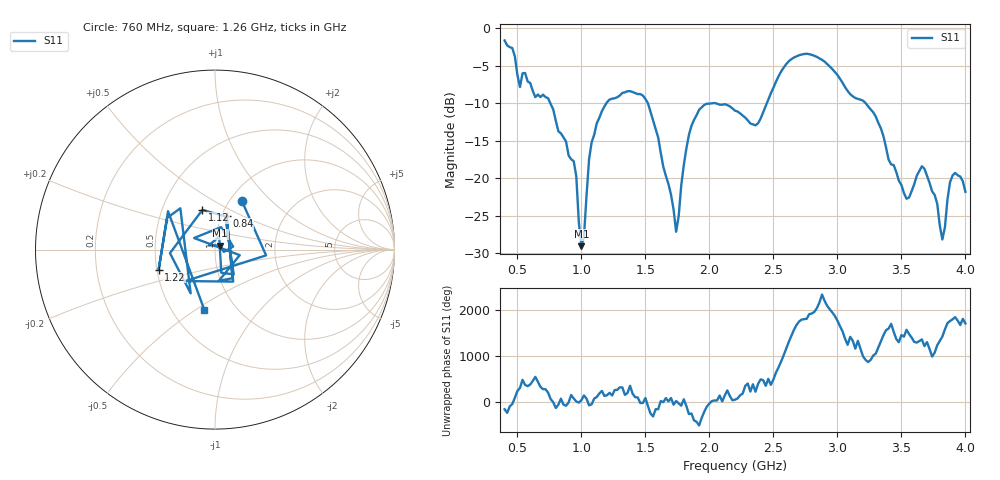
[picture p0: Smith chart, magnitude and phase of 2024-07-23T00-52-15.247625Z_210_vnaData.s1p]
!Created with skrf (http://scikit-rf.org).
# Hz S RI R 50.0
!freq ReS11 ImS11
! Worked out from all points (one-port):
!   181 points, 400 MHz to 4 GHz, reference 50 ohm
!   lowest |S11| = -29.1 dB at 1 GHz (marker M1), VSWR 1.07, Z = 52.9 + j2.22 ohm
!   |S11| at or under -10 dB: 756.4 MHz to 1.196 GHz (439.9 MHz wide, 45.1 % of centre); 1.519 GHz to 2.04 GHz (521.1 MHz wide, 29.3 % of centre); 3.22 GHz to end of sweep (the widest 3 of 4)
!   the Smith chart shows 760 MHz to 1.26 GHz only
!   S11 on the Smith chart (normalised r, x): 760 MHz: 1.13, +0.68; 840 MHz: 1.06, +0.41; 1.12 GHz: 0.79, +0.37; 1.22 GHz: 0.51, -0.13; 1.26 GHz: 0.72, -0.54
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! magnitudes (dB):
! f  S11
! 400 MHz  -1.7
! 520 MHz  -7.9
! 760 MHz  -10.1
! 840 MHz  -14.1
! 860 MHz  -14.6
! 960 MHz  -19.8
! 1 GHz  -29.1
! 1.02 GHz  -27.8
! 1.06 GHz  -17.5
! 1.12 GHz  -12.7
! 1.22 GHz  -9.5
! 1.26 GHz  -9.4
! 1.3 GHz  -9.0
! 1.52 GHz  -10.0
! 1.74 GHz  -27.2
! 1.76 GHz  -25.1
! 1.84 GHz  -14.2
! 1.92 GHz  -10.9
! 2.2 GHz  -11.0
! 2.38 GHz  -12.7
! 2.66 GHz  -3.9
! 3.1 GHz  -8.8
! 3.3 GHz  -11.8
! 3.56 GHz  -22.6
! 3.68 GHz  -18.8
! 3.82 GHz  -28.2
! 3.9 GHz  -19.7
! 4 GHz  -21.8
